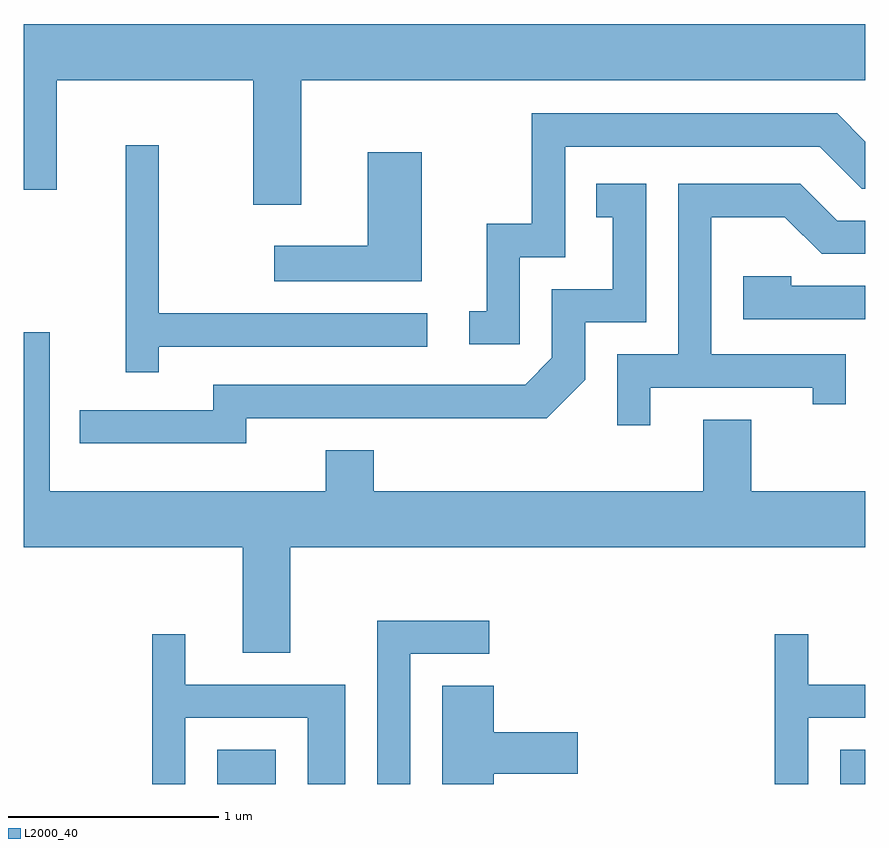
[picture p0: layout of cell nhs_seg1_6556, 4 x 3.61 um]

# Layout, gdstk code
import gdstk
lib = gdstk.Library(unit=1e-6, precision=1e-09)
def R(c, l, rs):  # rectangles x0, y0, x1, y1
    for r in rs: c.add(gdstk.rectangle(r[:2], r[2:], *l))
def P(c, l, *ps):  # polygons
    for p in ps: c.add(gdstk.Polygon(p, *l))
L2000_40 = (2000, 40)

nhs_seg1_6556 = lib.new_cell('nhs_seg1_6556')
R(nhs_seg1_6556, L2000_40, [(382.531,971.712,382.809,971.874), (385.491,971.712,385.611,971.874)])
P(nhs_seg1_6556, L2000_40, [(382.929,975.056),(385.611,975.056),(385.611,975.324),(381.611,975.324),(381.611,974.536),(381.769,974.536),(381.769,975.056),(382.701,975.056),(382.701,974.466),(382.929,974.466)],
  [(383.969,974.216),(384.184,974.216),(384.184,974.741),(385.394,974.741),(385.594,974.541),(385.611,974.541),(385.611,974.765),(385.477,974.899),(384.026,974.899),(384.026,974.374),(383.811,974.374),(383.811,973.959),(383.728,973.959),(383.728,973.801),(383.969,973.801)],
  [(382.254,973.791),(383.528,973.791),(383.528,973.949),(382.254,973.949),(382.254,974.748),(382.096,974.748),(382.096,973.668),(382.254,973.668)],
  [(383.504,974.714),(383.246,974.714),(383.246,974.269),(382.803,974.269),(382.803,974.101),(383.504,974.101)],
  [(382.669,973.451),(384.097,973.451),(384.279,973.634),(384.279,973.906),(384.569,973.906),(384.569,974.564),(384.333,974.564),(384.333,974.406),(384.411,974.406),(384.411,974.064),(384.121,974.064),(384.121,973.737),(383.994,973.609),(382.511,973.609),(382.511,973.489),(381.878,973.489),(381.878,973.331),(382.669,973.331)],
  [(384.589,973.596),(385.361,973.596),(385.361,973.518),(385.519,973.518),(385.519,973.754),(384.879,973.754),(384.879,974.406),(385.229,974.406),(385.404,974.231),(385.611,974.231),(385.611,974.389),(385.477,974.389),(385.302,974.564),(384.721,974.564),(384.721,973.754),(384.431,973.754),(384.431,973.418),(384.589,973.418)],
  [(385.611,974.079),(385.259,974.079),(385.259,974.124),(385.031,974.124),(385.031,973.921),(385.611,973.921)],
  [(382.879,972.836),(385.611,972.836),(385.611,973.104),(385.069,973.104),(385.069,973.444),(384.841,973.444),(384.841,973.104),(383.274,973.104),(383.274,973.299),(383.046,973.299),(383.046,973.104),(381.734,973.104),(381.734,973.858),(381.611,973.858),(381.611,972.836),(382.651,972.836),(382.651,972.336),(382.879,972.336)],
  [(383.449,972.331),(383.823,972.331),(383.823,972.489),(383.291,972.489),(383.291,971.712),(383.449,971.712)],
  [(382.379,972.026),(382.961,972.026),(382.961,971.712),(383.139,971.712),(383.139,972.184),(382.379,972.184),(382.379,972.423),(382.221,972.423),(382.221,971.712),(382.379,971.712)],
  [(385.339,972.026),(385.611,972.026),(385.611,972.184),(385.339,972.184),(385.339,972.423),(385.181,972.423),(385.181,971.712),(385.339,971.712)],
  [(383.844,971.761),(384.244,971.761),(384.244,971.959),(383.844,971.959),(383.844,972.179),(383.601,972.179),(383.601,971.712),(383.844,971.712)])

lib.write_gds('nhs_seg1_6556.gds')
